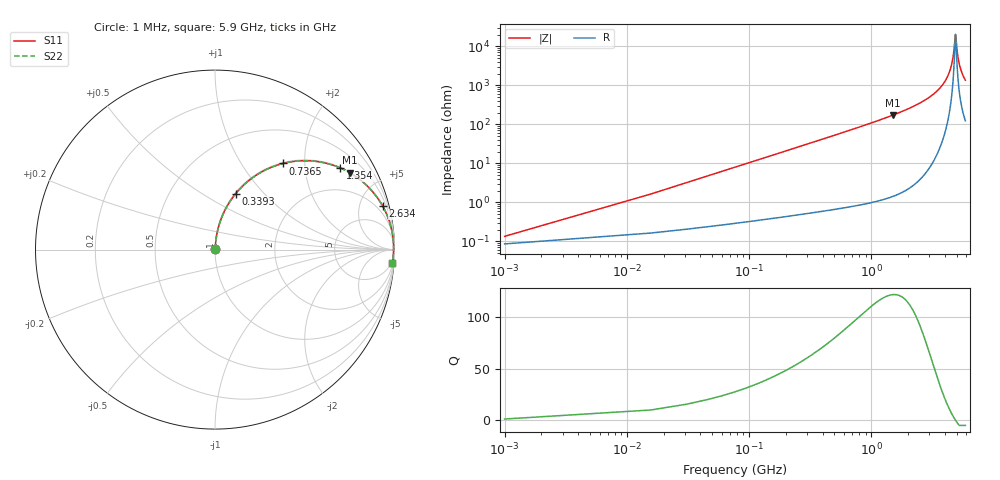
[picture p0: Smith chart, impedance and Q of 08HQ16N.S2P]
! Coilcraft 0805HQ-16N Chip Inductor
! 19 June 2002
# MHZ S MA R 50
!Freq  MagS11  AngS11  MagS21  AngS21  MagS12  AngS12  MagS22  AngS22
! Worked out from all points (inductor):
!   403 points, 1 MHz to 5.9 GHz, reference 50 ohm
!   read as one part in series: L = 16.5 nH near 30.42 MHz
!   highest Q = 121 at 1.516 GHz (marker M1), where L = 18.2 nH
!   self-resonance near 4.885 GHz
!   S11 on the Smith chart (normalised r, x): 1 MHz: 1.00, +0.00; 339.3 MHz: 1.01, +0.71; 736.5 MHz: 1.02, +1.56; 1.354 GHz: 1.03, +3.04; 2.634 GHz: 1.09, +7.68; 5.9 GHz: 3, -27
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1  0.001347 50.2  0.9991 -0.1  0.9991 -0.1  0.001347 50.2
45.13  0.04669 84.4  0.9966 -2.7  0.9966 -2.7  0.04669 84.4
89.26  0.09195 82.8  0.9927 -5.3  0.9927 -5.3  0.09195 82.8
192.23  0.195 77.5  0.9767 -11.2  0.9767 -11.2  0.195 77.5
339.33  0.3317 69.7  0.9383 -19.4  0.9383 -19.4  0.3317 69.7
736.5  0.6126 51.6  0.7841 -37.8  0.7841 -37.8  0.6126 51.6
986.57  0.7261 42.9  0.681 -46.6  0.681 -46.6  0.7261 42.9
1354.32  0.8323 33.2  0.5474 -56.3  0.5474 -56.3  0.8323 33.2
1516.13  0.8638 29.8  0.4969 -59.7  0.4969 -59.7  0.8638 29.8
1972.14  0.9225 22.2  0.378 -67.3  0.378 -67.3  0.9225 22.2
2634.09  0.965 14.5  0.2512 -74.8  0.2512 -74.8  0.965 14.5
2957.71  0.9763 11.7  0.2023 -77.5  0.2023 -77.5  0.9763 11.7
3943.28  0.9926 4.9  0.08553 -82.6  0.08553 -82.6  0.9926 4.9
4281.61  0.9945 3.0  0.05303 -82.5  0.05303 -82.5  0.9945 3.0
4531.68  0.9951 1.8  0.03086 -80.0  0.03086 -80.0  0.9951 1.8
4708.2  0.9952 0.9  0.01623 -72.4  0.01623 -72.4  0.9952 0.9
4870.01  0.9951 0.1  0.005424 -25.0  0.005424 -25.0  0.9951 0.1
4928.85  0.995 -0.1  0.005544 25.5  0.005544 25.5  0.995 -0.1
5075.95  0.9947 -0.8  0.01486 68.6  0.01486 68.6  0.9947 -0.8
5252.47  0.9941 -1.6  0.02785 77.0  0.02785 77.0  0.9941 -1.6
5517.25  0.9929 -2.7  0.04695 80.0  0.04695 80.0  0.9929 -2.7
5900  0.9907 -4.2  0.07322 80.6  0.07322 80.6  0.9907 -4.2
